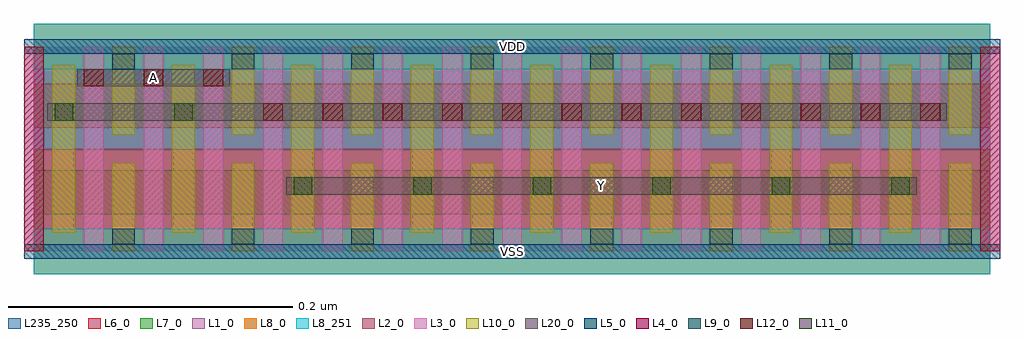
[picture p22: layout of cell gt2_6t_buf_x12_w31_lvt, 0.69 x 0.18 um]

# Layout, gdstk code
import gdstk
lib = gdstk.Library(unit=1e-6, precision=5e-10)
def R(c, l, rs):  # rectangles x0, y0, x1, y1
    for r in rs: c.add(gdstk.rectangle(r[:2], r[2:], *l))
def A(c, l, x, y, w, h, nx, ny, dx, dy):  # array of equal rectangles
    R(c, l, [(x+i*dx, y+j*dy, x+i*dx+w, y+j*dy+h) for i in range(nx) for j in range(ny)])
L1_0 = (1, 0)
L2_0 = (2, 0)
L3_0 = (3, 0)
L4_0 = (4, 0)
L5_0 = (5, 0)
L6_0 = (6, 0)
L7_0 = (7, 0)
L8_0 = (8, 0)
L8_251 = (8, 251)
L9_0 = (9, 0)
L10_0 = (10, 0)
L11_0 = (11, 0)
L12_0 = (12, 0)
L20_0 = (20, 0)
L235_250 = (235, 250)

gt2_6t_buf_x12_w31_lvt = lib.new_cell('gt2_6t_buf_x12_w31_lvt')
R(gt2_6t_buf_x12_w31_lvt, L1_0, [(0,0.072,0.672,0.144)])
R(gt2_6t_buf_x12_w31_lvt, L2_0, [(0,0.026,0.672,0.057), (0,0.087,0.672,0.118)])
A(gt2_6t_buf_x12_w31_lvt, L3_0, -0.007, 0, 0.014, 0.144, 17, 1, 0.042, 0)
R(gt2_6t_buf_x12_w31_lvt, L4_0, [(-0.007,0,0.007,0.144), (0.665,0,0.679,0.144)])
R(gt2_6t_buf_x12_w31_lvt, L5_0, [(-0.007,-0.005,0.679,0.005), (-0.007,0.139,0.679,0.149)])
R(gt2_6t_buf_x12_w31_lvt, L6_0, [(0,0,0.672,0.072)])
R(gt2_6t_buf_x12_w31_lvt, L7_0, [(0,0.072,0.672,0.144)])
R(gt2_6t_buf_x12_w31_lvt, L8_0, [(0,-0.016,0.672,0.016), (0,0.128,0.672,0.16)])
R(gt2_6t_buf_x12_w31_lvt, L8_251, [(0,-0.016,0.672,0.016), (0,0.128,0.672,0.16)])
A(gt2_6t_buf_x12_w31_lvt, L9_0, 0.055, 0.005, 0.016, 0.011, 8, 2, 0.084, 0.123)
A(gt2_6t_buf_x12_w31_lvt, L10_0, 0.055, 0, 0.016, 0.062, 8, 2, 0.084, 0.082)
A(gt2_6t_buf_x12_w31_lvt, L10_0, 0.013, 0.013, 0.016, 0.118, 8, 1, 0.084, 0)
A(gt2_6t_buf_x12_w31_lvt, L11_0, 0.1825, 0.04, 0.013, 0.012, 6, 1, 0.084, 0)
R(gt2_6t_buf_x12_w31_lvt, L11_0, [(0.0145,0.092,0.0275,0.104), (0.0985,0.092,0.1115,0.104)])
A(gt2_6t_buf_x12_w31_lvt, L12_0, 0.161, 0.092, 0.014, 0.012, 12, 1, 0.042, 0)
A(gt2_6t_buf_x12_w31_lvt, L12_0, 0.035, 0.116, 0.014, 0.012, 3, 1, 0.042, 0)
R(gt2_6t_buf_x12_w31_lvt, L20_0, [(0.1775,0.04,0.6205,0.052), (0.0095,0.092,0.6415,0.104), (0.0305,0.116,0.1375,0.128)])
R(gt2_6t_buf_x12_w31_lvt, L235_250, [(0,0,0.672,0.144)])
gt2_6t_buf_x12_w31_lvt.add(gdstk.Label('VSS', (0.336,0), layer=8, texttype=251))
gt2_6t_buf_x12_w31_lvt.add(gdstk.Label('VDD', (0.336,0.144), layer=8, texttype=251))
gt2_6t_buf_x12_w31_lvt.add(gdstk.Label('A', (0.084,0.122), layer=20, texttype=251))
gt2_6t_buf_x12_w31_lvt.add(gdstk.Label('Y', (0.399,0.046), layer=20, texttype=251))

lib.write_gds('gt2_6t_buf_x12_w31_lvt.gds')
